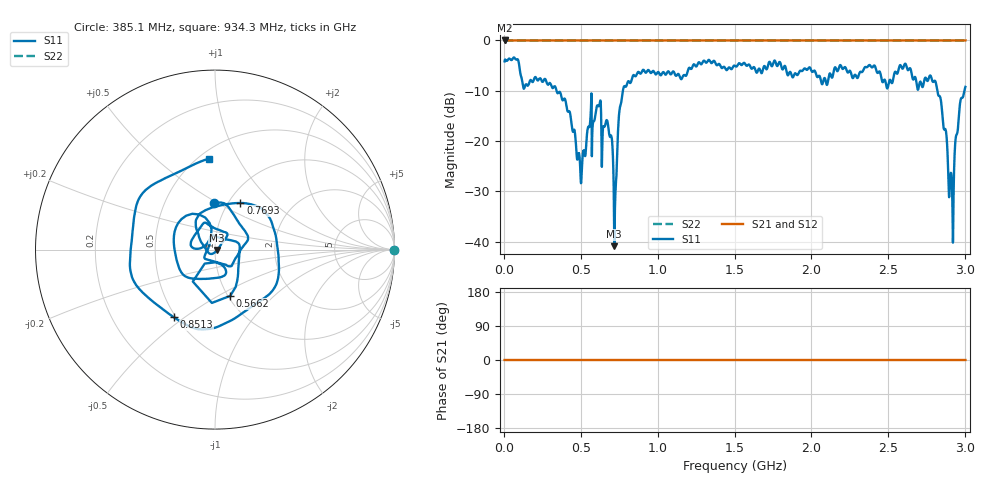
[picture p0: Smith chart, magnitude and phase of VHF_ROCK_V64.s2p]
!Keysight Technologies N9923A: A.08.09
!Date: Thursday, 02 August 2018 07:55:09
!Timezone: (GMT+08:00) Kuala Lumpur, Singapore
!Model: N9923A
!Serial: MY52412143
!GPS Latitude:
!GPS Longitude:
!GPS TimeStamp: 0001-01-01 00:00:00Z
!GPS Seconds Since Last Read: 0
!CHECKSUM:0090205183
!Correction: S11(ON U)S21()S12()S22()
!S2P File: Measurements:S11,S21,S12,S22:
# Hz S DB R 50
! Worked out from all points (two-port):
!   3000 points, 2 MHz to 3.002 GHz, reference 50 ohm
!   highest |S21| = 0.00 dB at 2 MHz (marker M1); lowest = 0.0 dB at 2 MHz (marker M2)
!   |S21| within 3 dB of the highest: start of sweep to end of sweep
!   lowest |S11| = -40.9 dB at 716.2 MHz (marker M3), VSWR 1.02, Z = 50.9 - j0.187 ohm
!   |S11| at or under -10 dB: 339.8 MHz to 772.1 MHz (432.3 MHz wide, 77.8 % of centre); 2.819 GHz to 2.995 GHz (176.3 MHz wide, 6.07 % of centre)
!   |S22| runs from 0.0 to 0.0 dB; largest |S21 - S12| = 0
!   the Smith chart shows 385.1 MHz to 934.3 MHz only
!   S11 on the Smith chart (normalised r, x): 385.1 MHz: 0.86, +0.48; 566.2 MHz: 1.02, -0.57; 769.3 MHz: 1.13, +0.65; 851.3 MHz: 0.49, -0.46; 934.3 MHz: 0.56, +0.77
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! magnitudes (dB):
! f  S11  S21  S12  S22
! 2 MHz  -4.2  0.0  0.0  0.0
! 385.1 MHz  -11.8  0.0  0.0  0.0
! 502.2 MHz  -27.5  0.0  0.0  0.0
! 566.2 MHz  -11.3  0.0  0.0  0.0
! 614.2 MHz  -13.1  0.0  0.0  0.0
! 645.2 MHz  -17.1  0.0  0.0  0.0
! 673.2 MHz  -16.4  0.0  0.0  0.0
! 694.2 MHz  -18.9  0.0  0.0  0.0
! 716.2 MHz  -40.9  0.0  0.0  0.0
! 769.3 MHz  -10.6  0.0  0.0  0.0
! 851.3 MHz  -7.1  0.0  0.0  0.0
! 934.3 MHz  -5.9  0.0  0.0  0.0
! 1.002 GHz  -6.3  0.0  0.0  0.0
! 1.503 GHz  -5.1  0.0  0.0  0.0
! 2.003 GHz  -6.2  0.0  0.0  0.0
! 2.503 GHz  -8.5  0.0  0.0  0.0
! 2.607 GHz  -4.7  0.0  0.0  0.0
! 2.801 GHz  -8.0  0.0  0.0  0.0
! 2.869 GHz  -17.6  0.0  0.0  0.0
! 2.91 GHz  -26.5  0.0  0.0  0.0
! 2.965 GHz  -13.1  0.0  0.0  0.0
! 3.002 GHz  -9.2  0.0  0.0  0.0
